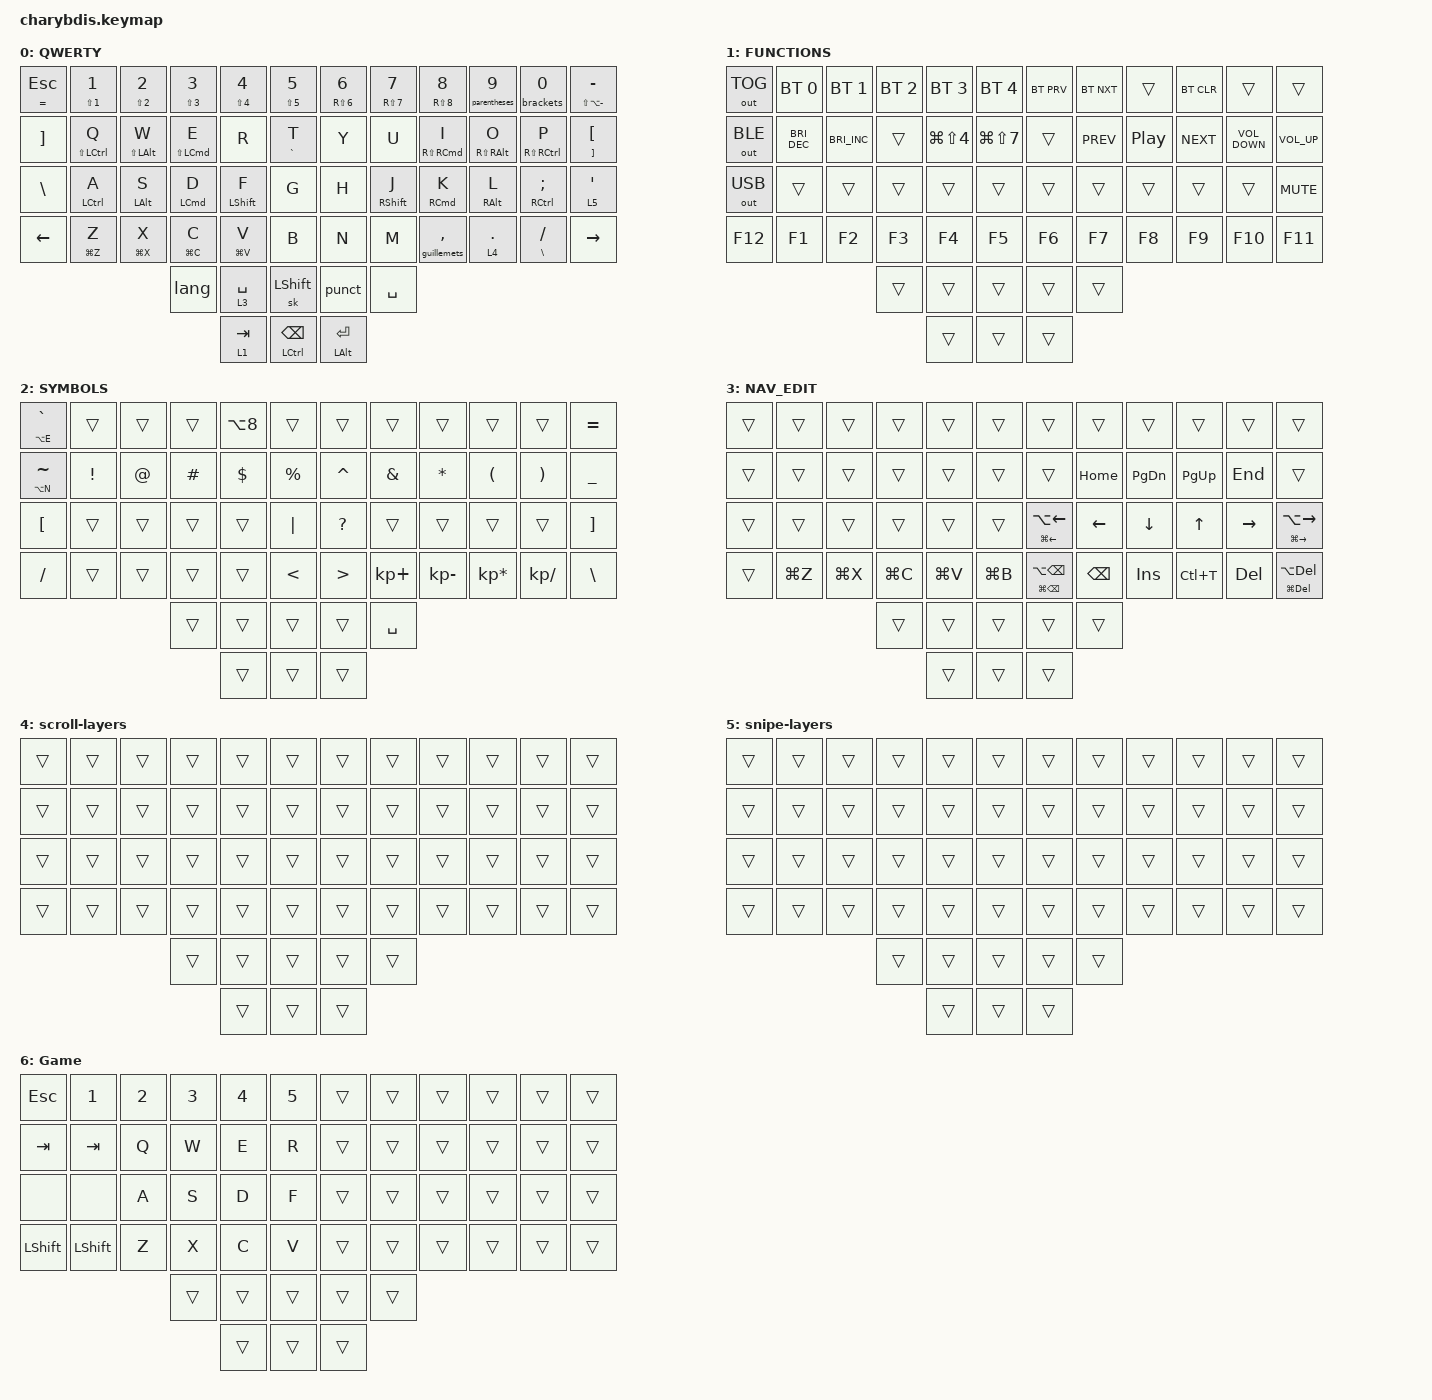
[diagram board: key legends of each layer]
#include <behaviors.dtsi>
#include <dt-bindings/zmk/bt.h>
#include <dt-bindings/zmk/keys.h>
#include <dt-bindings/zmk/outputs.h>
#include <dt-bindings/zmk/pointing.h>
#include <dt-bindings/zmk/rgb.h>

&lt {
    tapping-term-ms = <200>;
    flavor = "balanced";
    quick-tap-ms = <150>;
};

&mt {
    flavor = "tap-preferred";
    tapping-term-ms = <250>;
};

/ {
    macros {
        To1_macro: To1_macro {
            compatible = "zmk,behavior-macro";
            label = "To1_macro";
            #binding-cells = <0>;
            bindings = <&rgb_ug RGB_EFF &rgb_ug RGB_COLOR_HSB(128,100,50) &to 2>;
        };

        To0_macro: To0_macro {
            compatible = "zmk,behavior-macro";
            label = "To0_macro";
            #binding-cells = <0>;
            bindings = <&rgb_ug RGB_EFR &to 0>;
        };

        To2_macro: To2_macro {
            compatible = "zmk,behavior-macro";
            label = "To2_macro";
            #binding-cells = <0>;
            bindings =
                <&to 1>,
                <&macro_wait_time 30>,
                <&rgb_ug RGB_COLOR_HSB(250,100,50)>;
        };

        parentheses: parentheses {
            compatible = "zmk,behavior-macro";
            #binding-cells = <0>;
            bindings =
                <&kp LS(N9) &kp LS(N0) &kp LEFT_ARROW>,
                <&macro_pause_for_release>;

            label = "PARENTHESES";
        };

        sym_on_another_layout: octothorp {
            compatible = "zmk,behavior-macro-one-param";
            #binding-cells = <1>;
            bindings =
                <&kp LC(SPACE) &macro_param_1to1 &kp MACRO_PLACEHOLDER>,
                <&macro_pause_for_release>,
                <&kp LC(SPACE)>;

            label = "OCTOTHORP";
        };

        momentary_change_layout: change_layout {
            compatible = "zmk,behavior-macro";
            #binding-cells = <0>;
            bindings =
                <&kp LC(SPACE)>,
                <&macro_pause_for_release>,
                <&kp LC(SPACE)>;

            label = "CHANGE_LAYOUT";
        };

        brackets: brackets {
            compatible = "zmk,behavior-macro";
            #binding-cells = <0>;
            bindings =
                <&kp LEFT_BRACKET &kp RIGHT_BRACKET &kp LEFT_ARROW>,
                <&macro_pause_for_release>;

            label = "BRACKETS";
        };

        guillemets: guillemets {
            compatible = "zmk,behavior-macro";
            #binding-cells = <0>;
            bindings =
                <&kp LA(RIGHT_BRACKET) &kp LS(LA(RIGHT_BRACKET)) &kp LEFT_ARROW>,
                <&macro_pause_for_release>;

            label = "GUILLEMETS";
        };

        strikethrough: strikethrough {
            compatible = "zmk,behavior-macro";
            #binding-cells = <0>;
            bindings = <&kp LG(X) &kp TILDE &kp TILDE &kp LG(V) &kp TILDE &kp TILDE>;
            label = "STRIKETHROUGH";
        };

        sp_after: sp_after {
            compatible = "zmk,behavior-macro-one-param";
            #binding-cells = <1>;
            bindings =
                <&macro_param_1to1 &kp MACRO_PLACEHOLDER &kp SPACE>,
                <&macro_pause_for_release>;

            label = "SP_AFTER";
        };

        surround_sp: surround_sp {
            compatible = "zmk,behavior-macro-one-param";
            #binding-cells = <1>;
            bindings =
                <&kp SPACE &macro_param_1to1 &kp MACRO_PLACEHOLDER &kp SPACE>,
                <&macro_pause_for_release>;

            label = "SURROUND_SP";
        };

        wait_after: wait_after {
            compatible = "zmk,behavior-macro-one-param";
            #binding-cells = <1>;
            bindings =
                <&macro_param_1to1 &kp MACRO_PLACEHOLDER>,
                <&macro_pause_for_release>;

            label = "WAIT_AFTER";
        };
    };

    combos {
        compatible = "zmk,combos";

        Toggle_game {
            bindings = <&tog 6>;
            key-positions = <26 15 28>;
        };

        MB1_left {
            bindings = <&mkp MB1>;
            key-positions = <40 39>;
        };

        MB2_left {
            bindings = <&mkp MB2>;
            key-positions = <39 38>;
        };

        MB3_left {
            bindings = <&mkp MB3>;
            key-positions = <40 38>;
        };

        MB1_right {
            bindings = <&mkp MB1>;
            key-positions = <43 44>;
        };

        MB2_right {
            bindings = <&mkp MB2>;
            key-positions = <44 45>;
        };

        MB3_right {
            bindings = <&mkp MB3>;
            key-positions = <43 45>;
        };

        up {
            bindings = <&kp UP>;
            key-positions = <15 20>;
        };

        left {
            bindings = <&kp LEFT>;
            key-positions = <26 31>;
        };

        down {
            bindings = <&kp DOWN>;
            key-positions = <27 32>;
        };

        right {
            bindings = <&kp RIGHT>;
            key-positions = <28 33>;
        };
    };

    behaviors {
        sp_after_on_hold: sp_after_on_hold {
            compatible = "zmk,behavior-hold-tap";
            label = "SP_AFTER_ON_HOLD";
            bindings = <&sp_after>, <&kp>;

            #binding-cells = <2>;
            tapping-term-ms = <200>;
            flavor = "tap-preferred";
        };

        another_lang_on_hold: another_lang_on_hold {
            compatible = "zmk,behavior-hold-tap";
            label = "ANOTHER_LANG_ON_HOLD";
            bindings = <&momentary_change_layout>, <&kp>;

            #binding-cells = <2>;
            tapping-term-ms = <200>;
            flavor = "tap-preferred";
            hold-trigger-on-release;
        };

        parentheses_on_hold: parentheses_on_hold {
            compatible = "zmk,behavior-hold-tap";
            label = "PARENTHESES_ON_HOLD";
            bindings = <&parentheses>, <&kp>;

            #binding-cells = <2>;
            tapping-term-ms = <200>;
            flavor = "tap-preferred";
        };

        brackets_on_hold: brackets_on_hold {
            compatible = "zmk,behavior-hold-tap";
            label = "BRACKETS_ON_HOLD";
            bindings = <&brackets>, <&kp>;

            #binding-cells = <2>;
            flavor = "tap-preferred";
            tapping-term-ms = <200>;
        };

        guillemets_on_hold: guillemets_on_hold {
            compatible = "zmk,behavior-hold-tap";
            label = "GUILLEMETS_ON_HOLD";
            bindings = <&guillemets>, <&kp>;

            #binding-cells = <2>;
            tapping-term-ms = <200>;
            flavor = "tap-preferred";
        };

        lang: lang {
            compatible = "zmk,behavior-tap-dance";
            label = "LANG";
            #binding-cells = <0>;
            bindings = <&another_lang_on_hold 0 LC(SPACE)>, <&kp LA(LCTRL)>;
        };

        shift_dance: shift_dance {
            compatible = "zmk,behavior-tap-dance";
            label = "SHIFT_DANCE";
            #binding-cells = <0>;
            bindings = <&sk LEFT_SHIFT>, <&kp CAPS>;
        };

        dash_on_hold: dash_on_hold {
            compatible = "zmk,behavior-hold-tap";
            label = "DASH_ON_HOLD";
            bindings = <&surround_sp>, <&kp>;

            #binding-cells = <2>;
            tapping-term-ms = <200>;
            flavor = "tap-preferred";
        };

        punct: punct {
            compatible = "zmk,behavior-tap-dance";
            label = "PUNCT";
            #binding-cells = <0>;
            bindings = <&splayer LCMD LS(SLASH)>, <&sp_after SLASH>;
        };

        splayer: splayer {
            compatible = "zmk,behavior-hold-tap";
            label = "SPLAYER";
            bindings = <&kp>, <&sp_after>;

            #binding-cells = <2>;
            tapping-term-ms = <200>;
            flavor = "tap-preferred";
        };

        once_sym_on_hold: once_sym_on_hold {
            compatible = "zmk,behavior-hold-tap";
            label = "ONCE_SYM_ON_HOLD";
            bindings = <&wait_after>, <&kp>;

            #binding-cells = <2>;
            tapping-term-ms = <200>;
            flavor = "tap-preferred";
        };
    };

    keymap {
        compatible = "zmk,keymap";

        QWERTY {
            bindings = <
&once_sym_on_hold EQUAL ESCAPE  &mt LS(N1) NUMBER_1        &mt LS(N2) NUMBER_2        &mt LS(NUMBER_3) NUMBER_3  &mt LS(N4) NUMBER_4        &mt LS(N5) NUMBER_5    &mt RS(N6) NUMBER_6  &mt RS(N7) NUMBER_7  &mt RS(N8) NUMBER_8          &parentheses_on_hold 0 N9  &brackets_on_hold 0 NUMBER_0  &dash_on_hold LS(LA(MINUS)) MINUS
&kp RIGHT_BRACKET               &mt LS(LCTRL) Q            &mt LS(LEFT_ALT) W         &mt LS(LCMD) E             &kp R                      &mt GRAVE T            &kp Y                &kp U                &mt RS(RCMD) I               &mt RS(RIGHT_ALT) O        &mt RS(RCTRL) P               &mt RIGHT_BRACKET LEFT_BRACKET
&kp BACKSLASH                   &mt LCTRL A                &mt LEFT_ALT S             &mt LCMD D                 &mt LSHIFT F               &kp G                  &kp H                &mt RSHIFT J         &mt RCMD K                   &mt RIGHT_ALT L            &mt RCTRL SEMI                &lt 5 SQT
&kp LEFT                        &once_sym_on_hold LG(Z) Z  &once_sym_on_hold LG(X) X  &once_sym_on_hold LG(C) C  &once_sym_on_hold LG(V) V  &kp B                  &kp N                &kp M                &guillemets_on_hold 0 COMMA  &lt 4 DOT                  &mt BACKSLASH SLASH           &kp RIGHT
                                                                                      &lang                      &lt 3 SPACE                &sk LEFT_SHIFT         &punct               &kp SPACE
                                                                                                                 &lt 1 TAB                  &mt LCTRL BACKSPACE    &mt LEFT_ALT RET
            >;
        };

        FUNCTIONS {
            bindings = <
&out OUT_TOG  &bt BT_SEL 0   &bt BT_SEL 1   &bt BT_SEL 2  &bt BT_SEL 3          &bt BT_SEL 4      &bt BT_PRV  &bt BT_NXT  &trans            &bt BT_CLR  &trans             &trans
&out OUT_BLE  &kp C_BRI_DEC  &kp C_BRI_INC  &trans        &kp LG(LS(NUMBER_4))  &kp LG(LS(N7))    &trans      &kp C_PREV  &kp C_PLAY_PAUSE  &kp C_NEXT  &kp C_VOLUME_DOWN  &kp C_VOL_UP
&out OUT_USB  &trans         &trans         &trans        &trans                &trans            &trans      &trans      &trans            &trans      &trans             &kp K_MUTE
&kp F12       &kp F1         &kp F2         &kp F3        &kp F4                &kp F5            &kp F6      &kp F7      &kp F8            &kp F9      &kp F10            &kp F11
                                            &trans        &trans                &trans            &trans      &trans
                                                          &trans                &trans            &trans
            >;
        };

        SYMBOLS {
            bindings = <
&once_sym_on_hold LA(E) GRAVE  &trans    &trans  &trans    &kp LA(N8)  &trans         &trans        &trans       &trans        &trans                &trans                 &kp EQUAL
&once_sym_on_hold LA(N) TILDE  &kp EXCL  &kp AT  &kp HASH  &kp DOLLAR  &kp PERCENT    &kp CARET     &kp AMPS     &kp ASTRK     &kp LEFT_PARENTHESIS  &kp RIGHT_PARENTHESIS  &kp UNDER
&kp LBKT                       &trans    &trans  &trans    &trans      &kp PIPE       &kp QUESTION  &trans       &trans        &trans                &trans                 &kp RBKT
&kp SLASH                      &trans    &trans  &trans    &trans      &kp LT         &kp GT        &kp KP_PLUS  &kp KP_MINUS  &kp KP_MULTIPLY       &kp KP_DIVIDE          &kp BSLH
                                                 &trans    &trans      &trans         &trans        &kp SPACE
                                                           &trans      &trans         &trans
            >;
        };

        NAV_EDIT {
            bindings = <
&trans  &trans     &trans     &trans     &trans     &trans       &trans                           &trans         &trans         &trans       &trans     &trans
&trans  &trans     &trans     &trans     &trans     &trans       &trans                           &kp HOME       &kp PAGE_DOWN  &kp PAGE_UP  &kp END    &trans
&trans  &trans     &trans     &trans     &trans     &trans       &mt LG(LEFT) LA(LEFT_ARROW)      &kp LEFT       &kp DOWN       &kp UP       &kp RIGHT  &mt LG(RIGHT) LA(RIGHT)
&trans  &kp LG(Z)  &kp LG(X)  &kp LG(C)  &kp LG(V)  &kp LG(B)    &mt LG(BACKSPACE) LA(BACKSPACE)  &kp BACKSPACE  &kp INS        &kp LC(T)    &kp DEL    &mt LG(DEL) LA(DEL)
                              &trans     &trans     &trans       &trans                           &trans
                                         &trans     &trans       &trans
            >;
        };

        scroll-layers {
            bindings = <
&trans  &trans  &trans  &trans  &trans  &trans    &trans  &trans  &trans  &trans  &trans  &trans
&trans  &trans  &trans  &trans  &trans  &trans    &trans  &trans  &trans  &trans  &trans  &trans
&trans  &trans  &trans  &trans  &trans  &trans    &trans  &trans  &trans  &trans  &trans  &trans
&trans  &trans  &trans  &trans  &trans  &trans    &trans  &trans  &trans  &trans  &trans  &trans
                        &trans  &trans  &trans    &trans  &trans
                                &trans  &trans    &trans
            >;
        };

        snipe-layers {
            bindings = <
&trans  &trans  &trans  &trans  &trans  &trans    &trans  &trans  &trans  &trans  &trans  &trans
&trans  &trans  &trans  &trans  &trans  &trans    &trans  &trans  &trans  &trans  &trans  &trans
&trans  &trans  &trans  &trans  &trans  &trans    &trans  &trans  &trans  &trans  &trans  &trans
&trans  &trans  &trans  &trans  &trans  &trans    &trans  &trans  &trans  &trans  &trans  &trans
                        &trans  &trans  &trans    &trans  &trans
                                &trans  &trans    &trans
            >;
        };

        Game {
            bindings = <
&kp ESCAPE      &kp NUMBER_1    &kp N2  &kp N3  &kp N4  &kp N5    &trans  &trans  &trans  &trans  &trans  &trans
&kp TAB         &kp TAB         &kp Q   &kp W   &kp E   &kp R     &trans  &trans  &trans  &trans  &trans  &trans
&none           &none           &kp A   &kp S   &kp D   &kp F     &trans  &trans  &trans  &trans  &trans  &trans
&kp LEFT_SHIFT  &kp LEFT_SHIFT  &kp Z   &kp X   &kp C   &kp V     &trans  &trans  &trans  &trans  &trans  &trans
                                        &trans  &trans  &trans    &trans  &trans
                                                &trans  &trans    &trans
            >;
        };
    };

    conditional_layers {
        compatible = "zmk,conditional-layers";

        sym {
            if-layers = <1 3>;
            then-layer = <2>;
        };
    };
};
